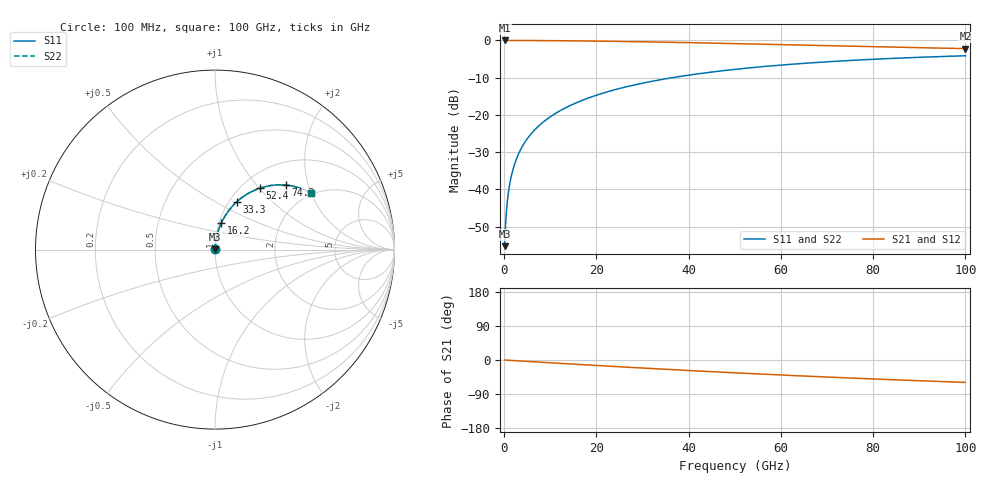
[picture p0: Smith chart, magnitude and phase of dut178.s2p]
! Touchstone file exported from HFSS 2026.1.0
!  File:  C:/ffzhzh/LocalFiles/Ansys_Project_Files/temp_train_RDL_178_1783500342_44152.aedt
!  Generated:  04:46:47 PM Jul  8, 2026
!  Design:  RDL
!  Project:  temp_train_RDL_178_1783500342_44152
! Variables:
!  h_bsmrdl = 2um
!  h_ox = 20um
!  h_rdl = 5um
!  h_sub = 80um
!  h_tmrdl = 2.9um
!  h_tsv = 80um
!  h_via = 3um
!  l_bsmrdl = 300um
!  l_sub = 537.27um
!  l_tmrdl = 137.27um
!  m_sub = 200um
!  pitch = 50.38um
!  r_tsv = 6um
!  s_tmrdl = 10um
!  w_bsmrdl = 18um
!  w_sub = 500um
!  w_tmrdl = 13.99um
!  x_tsv_center1 = 144.265um
!  x_tsv_center2 = 462.265um
!  x_tsv_center3 = 613.525um
!  x_tsv_center4 = 931.525um
!  x_tsv_center5 = 1082.785um
!  x_tsv_center6 = 1400.785um
# GHz S MA R 50.000000
! Terminal data exported
! Port[1] = TM_RDL1_1_T1
! Port[2] = TM_RDL1_1_T2
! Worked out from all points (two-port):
!   1000 points, 100 MHz to 100 GHz, reference 50 ohm
!   highest |S21| = -0.01 dB at 100 MHz (marker M1); lowest = -2.2 dB at 100 GHz (marker M2)
!   |S21| within 3 dB of the highest: start of sweep to end of sweep
!   lowest |S11| = -55.2 dB at 100 MHz (marker M3), VSWR 1.00, Z = 50.1 + j0.1 ohm
!   |S11| at or under -10 dB: start of sweep to 36.46 GHz
!   |S22| runs from -55.2 to -4.1 dB; largest |S21 - S12| = 3.9e-15
!   S11 on the Smith chart (normalised r, x): 100 MHz: 1.00, +0.00; 16.2 GHz: 1.02, +0.31; 33.3 GHz: 1.08, +0.63; 52.4 GHz: 1.21, +1.01; 74.2 GHz: 1.45, +1.46; 100 GHz: 1.96, +2.01
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0.1  0.001733 35.2  0.9986 -0.1  0.9986 -0.1  0.001733 35.2
! Gamma 0 0 0 0
! Port Impedance 50 0 50 0
0.3  0.003319 63.7  0.9985 -0.2  0.9985 -0.2  0.003319 63.7
0.7  0.007023 76.6  0.9984 -0.5  0.9984 -0.5  0.007023 76.6
0.9  0.008901 78.9  0.9984 -0.7  0.9984 -0.7  0.008901 78.9
1.4  0.01362 81.9  0.9982 -1.0  0.9982 -1.0  0.01362 81.9
1.9  0.01836 83.2  0.9981 -1.4  0.9981 -1.4  0.01836 83.2
2.4  0.02311 83.8  0.998 -1.8  0.998 -1.8  0.02311 83.8
3.9  0.03735 84.2  0.9974 -2.9  0.9974 -2.9  0.03735 84.2
5.9  0.05624 83.4  0.9962 -4.3  0.9962 -4.3  0.05624 83.4
8.6  0.08148 81.8  0.9941 -6.3  0.9941 -6.3  0.08148 81.8
12  0.1128 79.6  0.9904 -8.8  0.9904 -8.8  0.1128 79.6
16.2  0.1505 76.8  0.9848 -11.7  0.9848 -11.7  0.1505 76.8
16.8  0.1558 76.4  0.9839 -12.2  0.9839 -12.2  0.1558 76.4
24.2  0.2194 71.4  0.9709 -17.3  0.9709 -17.3  0.2194 71.5
33.3  0.2924 65.5  0.9508 -23.4  0.9508 -23.4  0.2924 65.5
33.4  0.2932 65.5  0.9506 -23.5  0.9506 -23.5  0.2932 65.5
50.1  0.4092 55.2  0.9062 -33.9  0.9062 -33.9  0.4092 55.2
52.4  0.4233 53.9  0.8996 -35.3  0.8996 -35.3  0.4233 53.9
66.7  0.5008 46.0  0.859 -43.2  0.859 -43.2  0.5008 46.0
74.2  0.5348 42.2  0.8383 -47.1  0.8383 -47.1  0.5348 42.2
83.4  0.5709 37.7  0.8143 -51.6  0.8143 -51.6  0.5709 37.7
100  0.622 30.2  0.7763 -59.2  0.7763 -59.2  0.622 30.3
